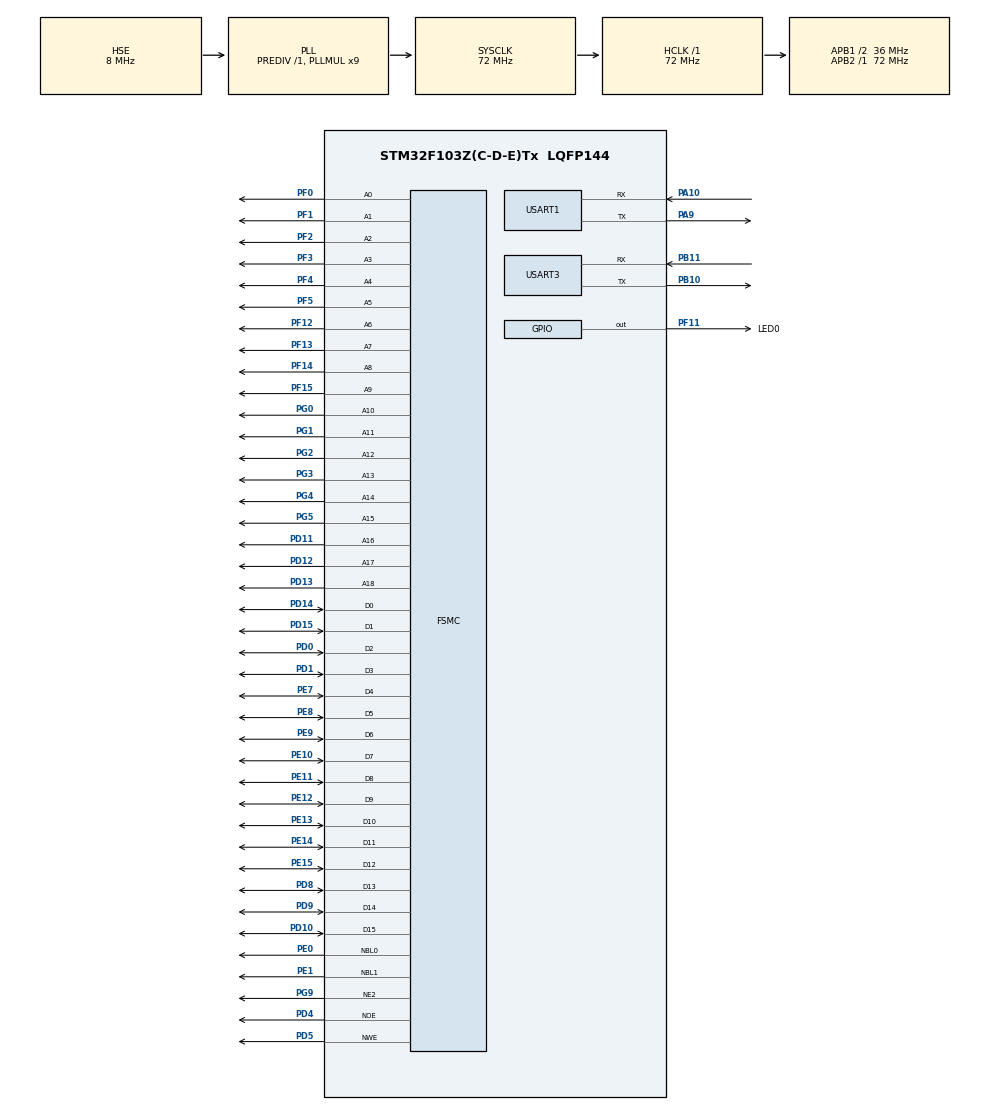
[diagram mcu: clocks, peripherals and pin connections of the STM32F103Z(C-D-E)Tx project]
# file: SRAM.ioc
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FSMC.AddressSetupTime3=15
FSMC.BusTurnAroundDuration3=15
FSMC.DataSetupTime3=255
FSMC.WriteOperation3=FSMC_WRITE_OPERATION_ENABLE
Mcu.Family=STM32F1
Mcu.Name=STM32F103Z(C-D-E)Tx
Mcu.Package=LQFP144
NVIC.PriorityGroup=NVIC_PRIORITYGROUP_4
NVIC.RCC_IRQn=true\:0\:0\:false\:false\:true\:true\:false\:true
NVIC.USART1_IRQn=true\:0\:0\:false\:false\:true\:true\:true\:true
NVIC.USART3_IRQn=true\:0\:0\:true\:false\:true\:true\:true\:true
OSC_IN.Mode=HSE-External-Oscillator
OSC_IN.Signal=RCC_OSC_IN
OSC_OUT.Mode=HSE-External-Oscillator
OSC_OUT.Signal=RCC_OSC_OUT
PA10.Mode=Asynchronous
PA10.Signal=USART1_RX
PA13.Mode=Serial_Wire
PA13.Signal=SYS_JTMS-SWDIO
PA14.Mode=Serial_Wire
PA14.Signal=SYS_JTCK-SWCLK
PA9.Mode=Asynchronous
PA9.Signal=USART1_TX
PB10.Mode=Asynchronous
PB10.Signal=USART3_TX
PB11.Mode=Asynchronous
PB11.Signal=USART3_RX
PD0.Signal=FSMC_D2_DA2
PD1.Signal=FSMC_D3_DA3
PD10.Signal=FSMC_D15_DA15
PD11.Signal=FSMC_A16_CLE
PD12.Signal=FSMC_A17_ALE
PD13.Signal=FSMC_A18
PD14.Signal=FSMC_D0_DA0
PD15.Signal=FSMC_D1_DA1
PD4.Signal=FSMC_NOE
PD5.Signal=FSMC_NWE
PD8.Signal=FSMC_D13_DA13
PD9.Signal=FSMC_D14_DA14
PE0.Signal=FSMC_NBL0
PE1.Signal=FSMC_NBL1
PE10.Signal=FSMC_D7_DA7
PE11.Signal=FSMC_D8_DA8
PE12.Signal=FSMC_D9_DA9
PE13.Signal=FSMC_D10_DA10
PE14.Signal=FSMC_D11_DA11
PE15.Signal=FSMC_D12_DA12
PE7.Signal=FSMC_D4_DA4
PE8.Signal=FSMC_D5_DA5
PE9.Signal=FSMC_D6_DA6
PF0.Signal=FSMC_A0
PF1.Signal=FSMC_A1
PF11.GPIO_Label=LED0
PF11.Signal=GPIO_Output
PF12.Signal=FSMC_A6
PF13.Signal=FSMC_A7
PF14.Signal=FSMC_A8
PF15.Signal=FSMC_A9
PF2.Signal=FSMC_A2
PF3.Signal=FSMC_A3
PF4.Signal=FSMC_A4
PF5.Signal=FSMC_A5
PG0.Signal=FSMC_A10
PG1.Signal=FSMC_A11
PG2.Signal=FSMC_A12
PG3.Signal=FSMC_A13
PG4.Signal=FSMC_A14
PG5.Signal=FSMC_A15
PG9.Mode=NorPsramChipSelect2_3
PG9.Signal=FSMC_NE2
ProjectManager.HeapSize=0x200
ProjectManager.StackSize=0x400
ProjectManager.TargetToolchain=MDK-ARM V5.32
RCC.AHBFreq_Value=72000000
RCC.APB1CLKDivider=RCC_HCLK_DIV2
RCC.APB1Freq_Value=36000000
RCC.APB1TimFreq_Value=72000000
RCC.APB2Freq_Value=72000000
RCC.APB2TimFreq_Value=72000000
RCC.HCLKFreq_Value=72000000
RCC.PLLMUL=RCC_PLL_MUL9
RCC.PLLSourceVirtual=RCC_PLLSOURCE_HSE
RCC.SYSCLKFreq_VALUE=72000000
RCC.SYSCLKSource=RCC_SYSCLKSOURCE_PLLCLK
RCC.USBFreq_Value=72000000
SH.FSMC_A0.0=FSMC_A0,19b-a3
SH.FSMC_A1.0=FSMC_A1,19b-a3
SH.FSMC_A10.0=FSMC_A10,19b-a3
SH.FSMC_A11.0=FSMC_A11,19b-a3
SH.FSMC_A12.0=FSMC_A12,19b-a3
SH.FSMC_A13.0=FSMC_A13,19b-a3
SH.FSMC_A14.0=FSMC_A14,19b-a3
SH.FSMC_A15.0=FSMC_A15,19b-a3
SH.FSMC_A16_CLE.0=FSMC_A16,19b-a3
SH.FSMC_A17_ALE.0=FSMC_A17,19b-a3
SH.FSMC_A18.0=FSMC_A18,19b-a3
SH.FSMC_A2.0=FSMC_A2,19b-a3
SH.FSMC_A3.0=FSMC_A3,19b-a3
SH.FSMC_A4.0=FSMC_A4,19b-a3
SH.FSMC_A5.0=FSMC_A5,19b-a3
SH.FSMC_A6.0=FSMC_A6,19b-a3
SH.FSMC_A7.0=FSMC_A7,19b-a3
SH.FSMC_A8.0=FSMC_A8,19b-a3
SH.FSMC_A9.0=FSMC_A9,19b-a3
SH.FSMC_D0_DA0.0=FSMC_D0,16b-d3
SH.FSMC_D10_DA10.0=FSMC_D10,16b-d3
SH.FSMC_D11_DA11.0=FSMC_D11,16b-d3
SH.FSMC_D12_DA12.0=FSMC_D12,16b-d3
SH.FSMC_D13_DA13.0=FSMC_D13,16b-d3
SH.FSMC_D14_DA14.0=FSMC_D14,16b-d3
SH.FSMC_D15_DA15.0=FSMC_D15,16b-d3
SH.FSMC_D1_DA1.0=FSMC_D1,16b-d3
SH.FSMC_D2_DA2.0=FSMC_D2,16b-d3
SH.FSMC_D3_DA3.0=FSMC_D3,16b-d3
SH.FSMC_D4_DA4.0=FSMC_D4,16b-d3
SH.FSMC_D5_DA5.0=FSMC_D5,16b-d3
SH.FSMC_D6_DA6.0=FSMC_D6,16b-d3
SH.FSMC_D7_DA7.0=FSMC_D7,16b-d3
SH.FSMC_D8_DA8.0=FSMC_D8,16b-d3
SH.FSMC_D9_DA9.0=FSMC_D9,16b-d3
SH.FSMC_NBL0.0=FSMC_NBL0,2ByteEnable3
SH.FSMC_NBL1.0=FSMC_NBL1,2ByteEnable3
SH.FSMC_NOE.0=FSMC_NOE,Sram3
SH.FSMC_NWE.0=FSMC_NWE,Sram3
USART1.VirtualMode=VM_ASYNC
USART3.VirtualMode=VM_ASYNC
board=custom

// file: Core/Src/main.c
/* USER CODE BEGIN Header */
/**
  ******************************************************************************
  * @file           : main.c
  * @brief          : Main program body
  ******************************************************************************
  * @attention
  *
  * Copyright (c) 2022 STMicroelectronics.
  * All rights reserved.
  *
  * This software is licensed under terms that can be found in the LICENSE file
  * in the root directory of this software component.
  * If no LICENSE file comes with this software, it is provided AS-IS.
  *
  ******************************************************************************
  */
/* USER CODE END Header */
#include "main.h"
#include "usart.h"
#include "gpio.h"
#include "fsmc.h"

/* USER CODE BEGIN Includes */
#include <string.h>

/* USER CODE END Includes */

/* USER CODE BEGIN PM */
#define SRAM_BASE_ADDR	((uint32_t)0x64000000)

/* USER CODE END PM */

/* USER CODE BEGIN PV */
const char warn_msg[] = "Too long\n";
char cbuffer[256] = "hello, world\n";
char RxRecBuf[256];
char cbuf;
int clen;
int RxLen = 0;
uint32_t* addr;

/* USER CODE END PV */

void SystemClock_Config(void);

int main(void)
{

  /* MCU Configuration--------------------------------------------------------*/

  /* Reset of all peripherals, Initializes the Flash interface and the Systick. */
  HAL_Init();

  /* Configure the system clock */
  SystemClock_Config();

  /* Initialize all configured peripherals */
  MX_GPIO_Init();
  MX_USART1_UART_Init();
  MX_USART3_UART_Init();
  MX_FSMC_Init();

  /* Infinite loop */
  /* USER CODE BEGIN WHILE */
	HAL_UART_Receive_IT(&huart1, (uint8_t*)&cbuf, 1);
	clen = strlen(cbuffer);
  while (1)
  {
    /* USER CODE END WHILE */

    /* USER CODE BEGIN 3 */
		//HAL_GPIO_TogglePin(LED0_GPIO_Port, LED0_Pin);
		HAL_UART_Transmit(&huart1, (uint8_t*)cbuffer, clen, 0xff);
		addr = (uint32_t*)SRAM_BASE_ADDR;

		HAL_SRAM_Write_8b(&hsram3, addr, (uint8_t*)cbuffer, clen);

		//HAL_SRAM_Write_8b(&hsram1, addr, (uint8_t*)hello, len);
		HAL_SRAM_Read_8b(&hsram3, (uint32_t*)addr, (uint8_t*)cbuffer, clen);

		HAL_Delay(1000);
  }
  /* USER CODE END 3 */
}

void SystemClock_Config(void)
{
  RCC_OscInitTypeDef RCC_OscInitStruct = {0};
  RCC_ClkInitTypeDef RCC_ClkInitStruct = {0};

  /** Initializes the RCC Oscillators according to the specified parameters
  * in the RCC_OscInitTypeDef structure.
  */
  RCC_OscInitStruct.OscillatorType = RCC_OSCILLATORTYPE_HSE;
  RCC_OscInitStruct.HSEState = RCC_HSE_ON;
  RCC_OscInitStruct.HSEPredivValue = RCC_HSE_PREDIV_DIV1;
  RCC_OscInitStruct.HSIState = RCC_HSI_ON;
  RCC_OscInitStruct.PLL.PLLState = RCC_PLL_ON;
  RCC_OscInitStruct.PLL.PLLSource = RCC_PLLSOURCE_HSE;
  RCC_OscInitStruct.PLL.PLLMUL = RCC_PLL_MUL9;
  if (HAL_RCC_OscConfig(&RCC_OscInitStruct) != HAL_OK)
  {
    Error_Handler();
  }

  /** Initializes the CPU, AHB and APB buses clocks
  */
  RCC_ClkInitStruct.ClockType = RCC_CLOCKTYPE_HCLK|RCC_CLOCKTYPE_SYSCLK
                              |RCC_CLOCKTYPE_PCLK1|RCC_CLOCKTYPE_PCLK2;
  RCC_ClkInitStruct.SYSCLKSource = RCC_SYSCLKSOURCE_PLLCLK;
  RCC_ClkInitStruct.AHBCLKDivider = RCC_SYSCLK_DIV1;
  RCC_ClkInitStruct.APB1CLKDivider = RCC_HCLK_DIV2;
  RCC_ClkInitStruct.APB2CLKDivider = RCC_HCLK_DIV1;

  if (HAL_RCC_ClockConfig(&RCC_ClkInitStruct, FLASH_LATENCY_2) != HAL_OK)
  {
    Error_Handler();
  }
}

/* USER CODE BEGIN 4 */
void HAL_UART_RxCpltCallback(UART_HandleTypeDef *huart)
{

  /* Prevent unused argument(s) compilation warning */
  UNUSED(huart);
  /* NOTE: This function should not be modified, when the callback is needed,
           the HAL_UART_RxCpltCallback could be implemented in the user file
   */
	if (RxLen+1 >= sizeof(RxRecBuf)) {
		HAL_UART_Transmit(&huart1, (uint8_t *)warn_msg, sizeof(warn_msg), 0xff);
		RxLen = 0;
	} else {
		RxRecBuf[RxLen++] = cbuf;
	}
	if (RxRecBuf[RxLen-2] == 0x0d && RxRecBuf[RxLen-1] == 0x0a) {
		RxRecBuf[RxLen] = '\0';
		memcpy(cbuffer, RxRecBuf, sizeof(cbuffer));
		clen = strlen(cbuffer);
		RxLen = 0;
	}
	HAL_UART_Receive_IT(&huart1, (uint8_t *)&cbuf, 1);
}
/* USER CODE END 4 */

void Error_Handler(void)
{
  __disable_irq();
  while (1)
  {
  }
}
